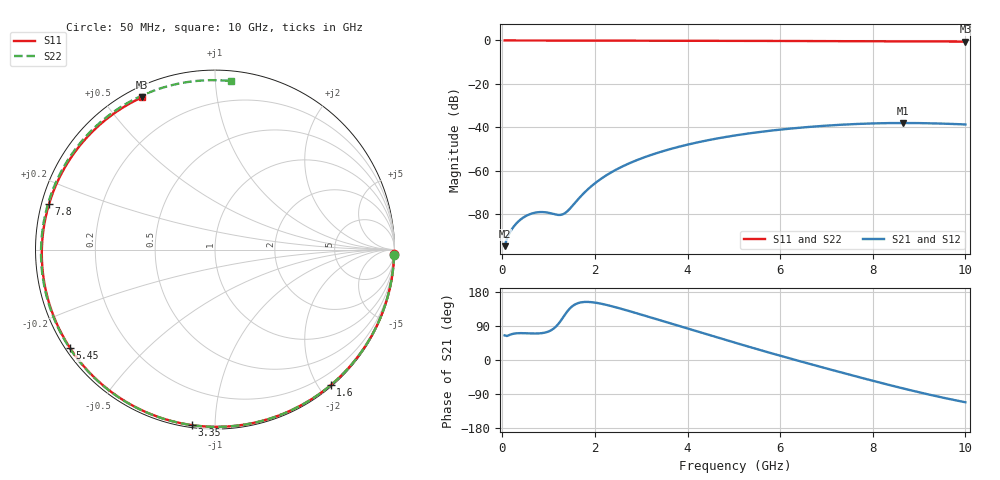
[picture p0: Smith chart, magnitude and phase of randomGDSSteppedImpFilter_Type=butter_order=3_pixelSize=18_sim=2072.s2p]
! freq	dB(S11)	phase(S11)	dB(S12)	phase(S12)
!  dB(S21)	phase(S21)	dB(S22)	phase(S22)
!S-par simulation data
#  GHz  S  DB  R 50
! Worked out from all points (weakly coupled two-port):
!   200 points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, 50 MHz to 10 GHz, reference 50 ohm
!   highest |S21| = -38.03 dB at 8.65 GHz (marker M1); lowest = -94.8 dB at 50 MHz (marker M2)
!   lowest |S11| = -0.5 dB at 10 GHz (marker M3), VSWR 32.91, Z = 2.12 + j31.4 ohm
!   |S11| at or under -10 dB: nowhere
!   |S22| runs from -0.5 to 0.0 dB; largest |S21 - S12| = 0
!   S11 on the Smith chart (normalised r, x): 50 MHz: 2, -75; 1.6 GHz: 0.02, -2.17; 3.35 GHz: 0.01, -0.88; 5.45 GHz: 0.01, -0.31; 7.8 GHz: 0.02, +0.13; 10 GHz: 0.04, +0.63
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0.05  -0.01 -1.5  -94.77 65.0  -94.77 65.0  -0.01 -1.7
0.65  -0.03 -20.6  -79.64 70.0  -79.64 70.0  -0.03 -22.8
0.85  -0.03 -26.8  -79.05 70.8  -79.05 70.8  -0.04 -29.7
1.3  -0.05 -40.6  -80.16 110.3  -80.16 110.3  -0.06 -45.0
1.4  -0.05 -43.6  -78.78 127.7  -78.78 127.7  -0.06 -48.3
1.6  -0.06 -49.5  -74.07 148.4  -74.07 148.4  -0.07 -54.9
1.75  -0.07 -53.9  -70.58 153.0  -70.58 153.0  -0.07 -59.7
2.05  -0.08 -62.6  -64.99 150.5  -64.99 150.5  -0.08 -69.2
2.4  -0.09 -72.4  -60.19 140.7  -60.19 140.7  -0.10 -79.9
2.85  -0.10 -84.5  -55.62 125.2  -55.62 125.2  -0.11 -93.2
3.35  -0.12 -97.4  -51.79 107.0  -51.79 107.0  -0.13 -107.3
3.4  -0.12 -98.6  -51.46 105.2  -51.46 105.2  -0.13 -108.7
4.25  -0.15 -119.1  -46.80 73.9  -46.80 73.9  -0.16 -131.1
5.05  -0.19 -137.2  -43.69 44.7  -43.69 44.7  -0.20 -151.0
5.45  -0.21 -145.9  -42.47 30.5  -42.47 30.5  -0.22 -160.7
6.05  -0.24 -158.7  -40.97 9.6  -40.97 9.6  -0.26 -175.1
6.7  -0.29 -172.3  -39.71 -12.4  -39.71 -12.4  -0.30 169.4
7.8  -0.37 164.7  -38.36 -48.4  -38.36 -48.4  -0.37 142.6
8.35  -0.41 152.9  -38.07 -65.8  -38.07 -65.8  -0.41 128.8
8.65  -0.43 146.4  -38.03 -74.9  -38.03 -74.9  -0.43 121.0
9.35  -0.48 130.8  -38.22 -94.9  -38.22 -94.9  -0.47 102.5
10  -0.53 115.7  -38.70 -111.5  -38.70 -111.5  -0.51 84.7
